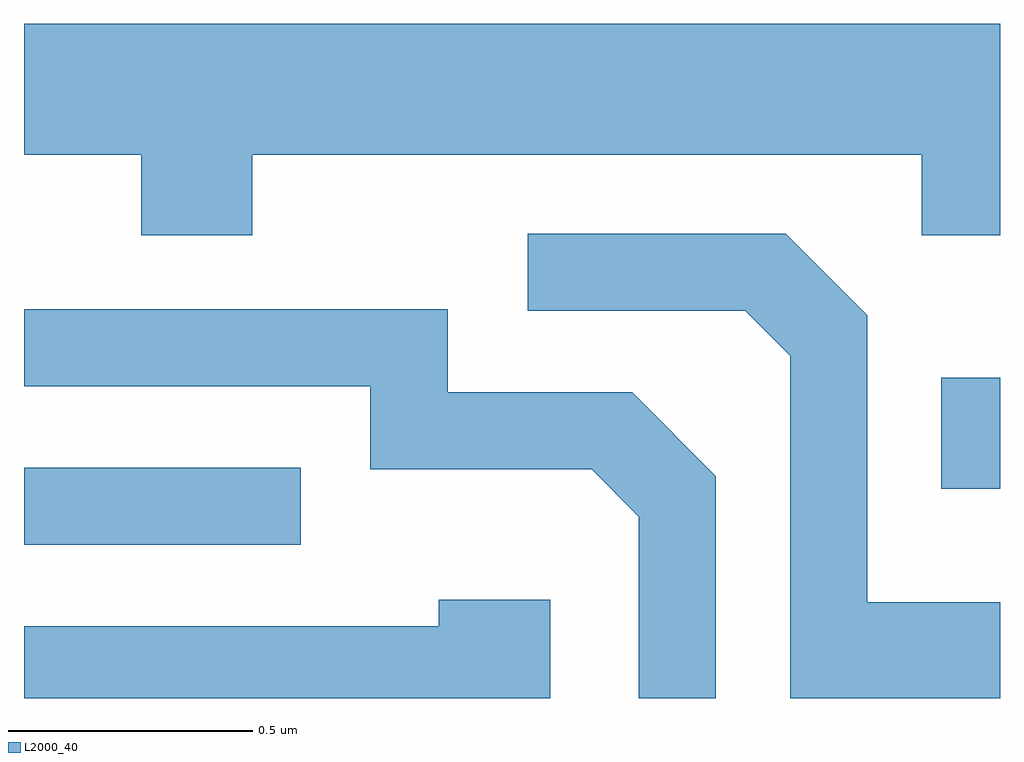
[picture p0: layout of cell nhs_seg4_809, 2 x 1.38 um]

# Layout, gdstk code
import gdstk
lib = gdstk.Library(unit=1e-6, precision=1e-09)
def R(c, l, rs):  # rectangles x0, y0, x1, y1
    for r in rs: c.add(gdstk.rectangle(r[:2], r[2:], *l))
def P(c, l, *ps):  # polygons
    for p in ps: c.add(gdstk.Polygon(p, *l))
L2000_40 = (2000, 40)

nhs_seg4_809 = lib.new_cell('nhs_seg4_809')
R(nhs_seg4_809, L2000_40, [(190.611,1378.296,191.178,1378.454), (192.491,1378.411,192.611,1378.639)])
P(nhs_seg4_809, L2000_40, [(191.079,1379.096),(192.451,1379.096),(192.451,1378.931),(192.611,1378.931),(192.611,1379.364),(190.611,1379.364),(190.611,1379.096),(190.851,1379.096),(190.851,1378.931),(191.079,1378.931)],
  [(192.611,1378.179),(192.339,1378.179),(192.339,1378.767),(192.172,1378.934),(191.643,1378.934),(191.643,1378.776),(192.089,1378.776),(192.181,1378.684),(192.181,1377.982),(192.611,1377.982)],
  [(192.029,1378.437),(191.857,1378.609),(191.479,1378.609),(191.479,1378.779),(190.611,1378.779),(190.611,1378.621),(191.321,1378.621),(191.321,1378.451),(191.774,1378.451),(191.871,1378.354),(191.871,1377.982),(192.029,1377.982)],
  [(191.689,1378.184),(191.461,1378.184),(191.461,1378.129),(190.611,1378.129),(190.611,1377.982),(191.689,1377.982)])

lib.write_gds('nhs_seg4_809.gds')
